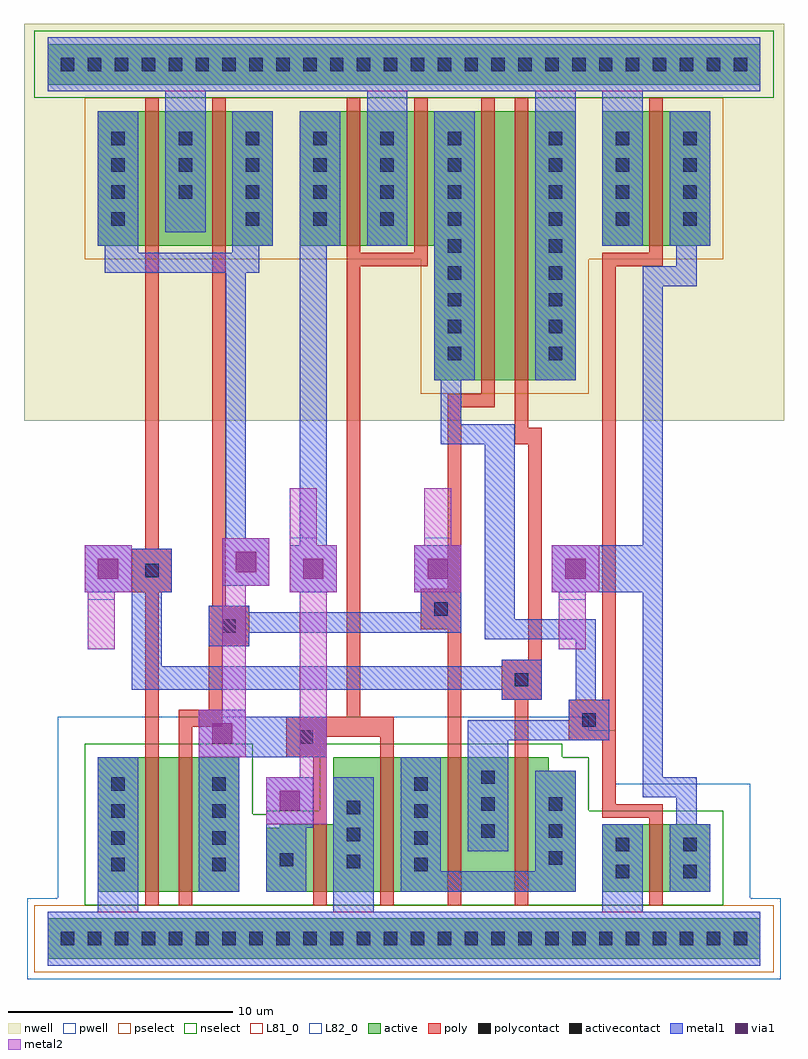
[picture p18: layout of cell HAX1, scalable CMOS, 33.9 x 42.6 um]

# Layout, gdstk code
import gdstk
lib = gdstk.Library(unit=1e-6, precision=1e-09)
def R(c, l, rs):  # rectangles x0, y0, x1, y1
    for r in rs: c.add(gdstk.rectangle(r[:2], r[2:], *l))
def A(c, l, x, y, w, h, nx, ny, dx, dy):  # array of equal rectangles
    R(c, l, [(x+i*dx, y+j*dy, x+i*dx+w, y+j*dy+h) for i in range(nx) for j in range(ny)])
pwell = (41, 0)
nwell = (42, 0)
active = (43, 0)
pselect = (44, 0)
nselect = (45, 0)
poly = (46, 0)
polycontact = (47, 0)
activecontact = (48, 0)
metal1 = (49, 0)
via1 = (50, 0)
metal2 = (51, 0)
L81_0 = (81, 0)
L82_0 = (82, 0)

hax1 = lib.new_cell('HAX1')
R(hax1, pwell, [(-1.8,-1.8,31.8,1.8), (-0.45,1.8,30.45,6.9), (-0.45,6.9,24.45,9.3), (-0.45,9.3,23.25,9.9)])
R(hax1, nwell, [(-1.95,23.1,31.95,40.8)])
R(hax1, active, [(-0.9,-0.9,30.9,0.9), (1.35,2.1,7.65,8.1), (8.85,2.1,22.65,4.95), (23.85,2.1,28.65,5.1), (9.45,4.95,22.65,5.1), (11.85,5.1,22.65,7.5), (11.85,7.5,21.45,8.1), (16.35,24.9,22.65,30.9), (1.35,30.9,9.15,36.9), (10.35,30.9,22.65,36.9), (23.85,30.9,28.65,36.9), (-0.9,38.1,30.9,39.9)])
R(hax1, pselect, [(-1.5,-1.5,31.5,1.5), (15.75,24.3,23.25,30.3), (0.75,30.3,29.25,37.5)])
R(hax1, nselect, [(0.75,1.5,29.25,5.55), (0.75,5.55,8.25,8.7), (8.85,5.55,29.25,5.7), (11.25,5.7,23.25,8.1), (11.25,8.1,22.05,8.7), (-1.5,37.5,31.5,40.5)])
R(hax1, poly, [(3.45,1.5,4.05,15.45), (4.95,1.5,5.55,9.45), (10.95,1.5,11.55,8.1), (13.95,1.5,14.55,9), (16.95,1.5,17.55,13.8), (19.95,1.5,20.55,10.65), (25.95,1.5,26.55,5.4), (23.85,5.4,26.55,6), (23.85,6,24.45,8.85), (9.75,8.1,11.55,9), (22.35,8.85,24.45,10.65), (9.75,9,14.55,9.9), (4.95,9.45,6.9,10.2), (12.45,9.9,13.05,30), (6.3,10.2,6.9,13.05), (19.35,10.65,21.15,12.45), (23.85,10.65,24.45,30), (20.55,12.45,21.15,22.05), (6.3,13.05,8.1,14.85), (15.75,13.8,17.55,15.6), (6.45,14.85,7.05,37.5), (2.85,15.45,4.65,17.4), (16.95,15.6,17.55,23.7), (3.45,17.4,4.05,37.5), (19.95,22.05,21.15,22.8), (19.95,22.8,20.55,37.5), (16.95,23.7,19.05,24.3), (18.45,24.3,19.05,37.5), (12.45,30,16.05,30.6), (23.85,30,26.55,30.6), (12.45,30.6,13.05,37.5), (15.45,30.6,16.05,37.5), (25.95,30.6,26.55,37.5)])
R(hax1, polycontact, [(10.35,8.7,10.95,9.3), (22.95,9.45,23.55,10.05), (19.95,11.25,20.55,11.85), (6.9,13.65,7.5,14.25), (16.35,14.4,16.95,15), (3.45,16.12,4.05,16.72)])
A(hax1, activecontact, -0.3, -0.3, 0.6, 0.6, 26, 2, 1.2, 39)
A(hax1, activecontact, 1.95, 3, 0.6, 0.6, 1, 4, 0, 1.2)
A(hax1, activecontact, 6.45, 3, 0.6, 0.6, 1, 4, 0, 1.2)
A(hax1, activecontact, 15.45, 3, 0.6, 0.6, 1, 4, 0, 1.2)
A(hax1, activecontact, 12.45, 3.15, 0.6, 0.6, 1, 3, 0, 1.2)
A(hax1, activecontact, 21.45, 3.3, 0.6, 0.6, 1, 3, 0, 1.2)
A(hax1, activecontact, 18.45, 4.5, 0.6, 0.6, 1, 3, 0, 1.2)
A(hax1, activecontact, 16.95, 25.8, 0.6, 0.6, 1, 5, 0, 1.2)
A(hax1, activecontact, 21.45, 25.8, 0.6, 0.6, 1, 5, 0, 1.2)
A(hax1, activecontact, 7.95, 31.8, 0.6, 0.6, 4, 1, 3, 0)
A(hax1, activecontact, 21.45, 31.8, 0.6, 0.6, 3, 4, 3, 1.2)
A(hax1, activecontact, 1.95, 33, 0.6, 0.6, 6, 3, 3, 1.2)
R(hax1, activecontact, [(24.45,2.7,25.05,3.3), (27.45,2.7,28.05,3.3), (9.45,3.22,10.05,3.82), (24.45,3.9,25.05,4.5), (27.45,3.9,28.05,4.5), (1.95,31.8,2.55,32.4)])
R(hax1, metal1, [(-0.9,-1.2,30.9,1.2), (1.35,1.2,3.15,8.1), (11.85,1.2,13.65,7.2), (23.85,1.2,25.65,5.1), (5.85,2.1,7.65,8.1), (8.85,2.1,10.65,4.95), (14.85,2.1,22.65,3), (26.85,2.1,28.65,5.1), (14.85,3,16.65,8.1), (20.85,3,22.65,7.5), (17.85,3.9,19.65,8.85), (8.85,4.95,10.95,7.2), (27.15,5.1,28.05,6.3), (25.65,6.3,28.05,7.2), (25.65,7.2,26.55,15.45), (5.85,8.1,11.55,9.9), (17.85,8.85,24.15,9.75), (22.35,9.75,24.15,10.65), (5.85,9.9,7.95,10.2), (19.35,10.65,21.15,11.1), (22.65,10.65,23.55,13.35), (2.85,11.1,21.15,12.15), (2.85,12.15,4.2,15.45), (19.35,12.15,21.15,12.45), (6.3,13.05,8.1,13.65), (18.6,13.35,23.55,14.25), (6.3,13.65,17.55,14.55), (18.6,14.25,19.95,22.05), (6.3,14.55,8.1,14.85), (15.75,14.55,17.55,15.45), (0.75,15.45,4.65,17.4), (9.9,15.45,12,17.55), (15.45,15.45,17.55,17.55), (21.6,15.45,26.55,17.55), (6.9,15.75,9,17.85), (0.75,17.4,2.85,17.55), (10.35,17.55,11.55,30.9), (25.65,17.55,26.55,29.1), (7.05,17.85,7.95,29.7), (16.65,22.05,19.95,22.95), (16.65,22.95,17.55,24.9), (16.35,24.9,18.15,36.9), (20.85,24.9,22.65,37.8), (25.65,29.1,28.05,30), (1.65,29.7,8.55,30.6), (27.15,30,28.05,30.9), (1.65,30.6,3.15,30.9), (7.35,30.6,8.55,30.9), (1.35,30.9,3.15,36.9), (7.35,30.9,9.15,36.9), (10.35,30.9,12.15,36.9), (13.35,30.9,15.15,37.8), (23.85,30.9,25.65,37.8), (26.85,30.9,28.65,36.9), (4.35,31.5,6.15,37.8), (-0.9,37.8,30.9,40.2)])
R(hax1, via1, [(9.45,5.7,10.35,6.6), (6.45,8.7,7.35,9.6), (1.35,16.05,2.25,16.95), (10.5,16.05,11.4,16.95), (16.05,16.05,16.95,16.95), (22.2,16.05,23.1,16.95), (7.5,16.35,8.4,17.25)])
R(hax1, metal2, [(8.85,5.1,11.55,7.2), (10.35,7.2,11.55,15.45), (5.85,8.1,7.95,10.2), (6.9,10.2,7.95,15.75), (0.9,12.9,2.1,15.45), (21.9,12.9,23.1,15.45), (0.75,15.45,2.85,17.55), (9.9,15.45,12,17.55), (15.45,15.45,17.55,17.55), (21.6,15.45,23.7,17.55), (6.9,15.75,9,17.85), (9.9,17.55,11.1,20.1), (15.9,17.55,17.1,20.1)])
R(hax1, L81_0, [(-0.9,-1.2,30.9,1.2), (-0.9,37.8,30.9,40.2)])
R(hax1, L82_0, [(0.9,12.9,2.1,15.15), (21.9,12.9,23.1,15.15), (9.9,17.85,11.1,20.1), (15.9,17.85,17.1,20.1)])

lib.write_gds('HAX1.gds')
